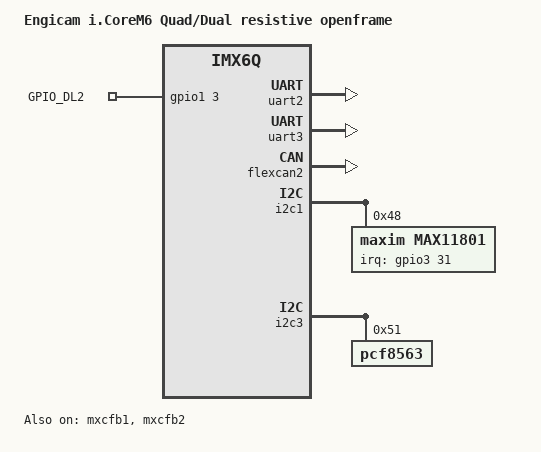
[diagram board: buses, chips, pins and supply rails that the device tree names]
/*
 * Copyright (C) 2013 Freescale Semiconductor, Inc.
 *
 * This program is free software; you can redistribute it and/or modify
 * it under the terms of the GNU General Public License version 2 as
 * published by the Free Software Foundation.
 */

/dts-v1/;

#include "imx6q.dtsi"
#include "icorem6qdl.dtsi"

/ {
	model = "Engicam i.CoreM6 Quad/Dual resistive openframe";
	compatible = "fsl,imx6-icore", "fsl,imx6q";

	gpio_export {
		compatible = "gpio-export";
		#size-cells = <0>;
		GPIO_DL2 {
		        gpio-export,name = "GPIO_DL2";
			gpio-export,output = <1>;
                        gpio-export,direction_may_change;
		        gpios = <&gpio1 3 0>;
		};
	};
};

&ldb {
	ipu_id = <0>;
	sec_ipu_id = <0>;
};

&mxcfb1 {
	status = "okay";
};

&mxcfb2 {
	status = "okay";
};

&uart2 {
	status = "okay";
};

&uart3 {
	fsl,uart-has-rtscts;
	status = "okay";
};

&flexcan2 {
	status = "okay";
};

&i2c1 {

	max11801@48 {
		compatible = "maxim,max11801";
		reg = <0x48>;
		interrupt-parent = <&gpio3>;
		interrupts = <31 2>;
		work-mode = <0>;/*DCM mode*/
	};

};

&i2c3 {
	pcf8563: rtc@51 {
		compatible = "pcf8563";
		reg = <0x51>;
	};
};

&iomuxc {
	pinctrl-names = "default";
	pinctrl-0 = <&pinctrl_hog>;
	hog {
		pinctrl_hog: hoggrp {
			fsl,pins = <
				MX6QDL_PAD_GPIO_3__GPIO1_IO03 0x1f059 /* LED DL2*/
			>;
		};
	};
};
